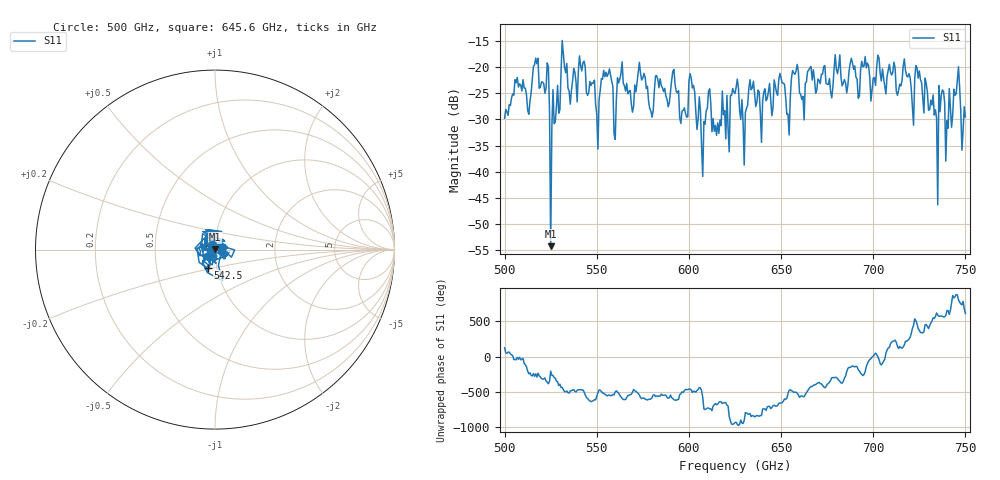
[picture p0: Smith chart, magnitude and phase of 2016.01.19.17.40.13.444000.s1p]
!Created with skrf (http://scikit-rf.org).
# GHz S RI R 50.0
!freq ReS11 ImS11
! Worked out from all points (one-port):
!   401 points, 500 GHz to 750 GHz, reference 50 ohm
!   lowest |S11| = -54.2 dB at 525 GHz (marker M1), VSWR 1.00, Z = 49.8 + j0.0887 ohm
!   |S11| at or under -10 dB: start of sweep to end of sweep
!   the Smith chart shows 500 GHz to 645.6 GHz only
!   S11 on the Smith chart (normalised r, x): 500 GHz: 0.96, +0.05; 542.5 GHz: 0.90, -0.19; 645.6 GHz: 1.08, +0.04
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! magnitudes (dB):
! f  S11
! 500 GHz  -29.8
! 506.9 GHz  -22.0
! 513.1 GHz  -29.0
! 516.9 GHz  -18.3
! 522.5 GHz  -24.0
! 525 GHz  -54.2
! 531.2 GHz  -14.9
! 542.5 GHz  -19.2
! 550.6 GHz  -35.7
! 553.8 GHz  -20.6
! 559.4 GHz  -32.8
! 562.5 GHz  -22.3
! 593.8 GHz  -24.9
! 601.2 GHz  -22.1
! 608.1 GHz  -30.4
! 610.6 GHz  -24.7
! 620.6 GHz  -25.4
! 625 GHz  -25.1
! 629.4 GHz  -30.6
! 633.8 GHz  -24.3
! 645.6 GHz  -27.8
! 653.8 GHz  -29.0
! 656.2 GHz  -20.7
! 687.5 GHz  -19.3
! 718.8 GHz  -21.9
! 733.8 GHz  -28.2
! 745 GHz  -25.1
! 750 GHz  -29.5
